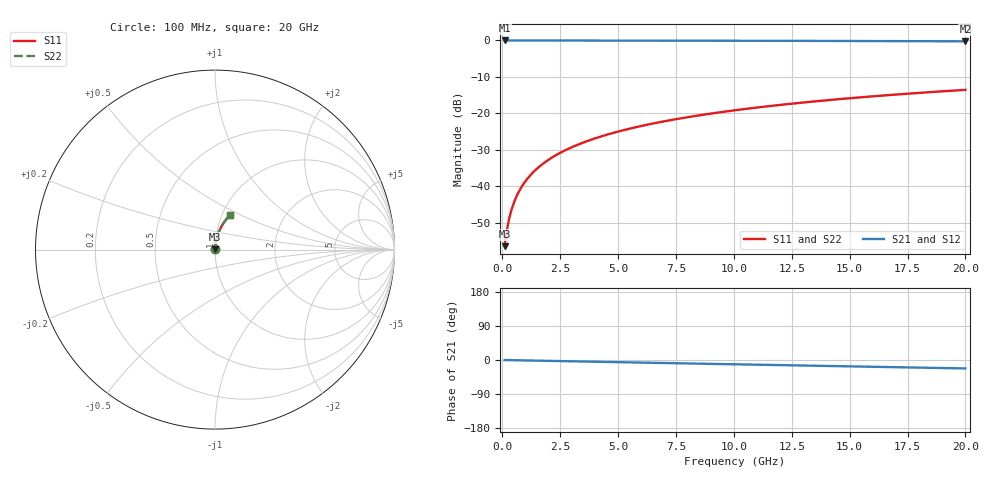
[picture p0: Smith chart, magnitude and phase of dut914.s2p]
! Touchstone file exported from HFSS 2026.1.0
!  File:  C:/ffzhzh/LocalFiles/Ansys_Project_Files/temp_train_BSMRDL_914_1783171614_51560.aedt
!  Generated:  09:28:04 PM Jul  4, 2026
!  Design:  BSMRDL
!  Project:  temp_train_BSMRDL_914_1783171614_51560
! Variables:
!  h_bsmrdl = 5.47um
!  h_ox = 20um
!  h_rdl = 5um
!  h_sub = 80um
!  h_tmrdl = 5um
!  h_tsv = 80um
!  h_via = 3um
!  l_bsmrdl = 292.78um
!  l_sub = 692.78um
!  l_tmrdl = 200um
!  m_sub = 200um
!  pitch = 58.79um
!  r_tsv = 6um
!  s_tmrdl = 10um
!  w_bsmrdl = 28.01um
!  w_sub = 500um
!  w_tmrdl = 12um
!  x_tsv_center1 = 206um
!  x_tsv_center2 = 526.79um
!  x_tsv_center3 = 738.79um
!  x_tsv_center4 = 1059.58um
!  x_tsv_center5 = 1271.58um
!  x_tsv_center6 = 1592.37um
# GHz S MA R 50.000000
! Terminal data exported
! Port[1] = BSM_RDL1_1_T1
! Port[2] = BSM_RDL1_1_T2
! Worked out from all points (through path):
!   200 points, 100 MHz to 20 GHz, reference 50 ohm
!   highest |S21| = -0.01 dB at 100 MHz (marker M1); lowest = -0.2 dB at 20 GHz (marker M2)
!   group delay of S21, straight-line fit = 3.09 ps
!   lowest |S11| = -56.4 dB at 100 MHz (marker M3), VSWR 1.00, Z = 50.1 + j0.125 ohm
!   |S11| at or under -10 dB: start of sweep to end of sweep
!   |S22| runs from -56.4 to -13.6 dB; largest |S21 - S12| = 9.4e-15
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0.1  0.001509 55.6  0.9991 -0.1  0.9991 -0.1  0.001509 55.6
! Gamma 0 0 0 0
! Port Impedance 50 0 50 0
0.2  0.002533 70.8  0.9991 -0.2  0.9991 -0.2  0.002533 70.8
0.3  0.003649 76.6  0.999 -0.4  0.999 -0.4  0.003649 76.6
0.4  0.004792 79.5  0.999 -0.5  0.999 -0.5  0.004792 79.5
0.5  0.005945 81.2  0.9989 -0.6  0.9989 -0.6  0.005945 81.2
0.7  0.00826 82.9  0.9989 -0.8  0.9989 -0.8  0.00826 82.9
0.8  0.009418 83.4  0.9988 -0.9  0.9988 -0.9  0.009418 83.4
1  0.01173 84.0  0.9988 -1.2  0.9988 -1.2  0.01173 84.0
1.2  0.01403 84.2  0.9987 -1.4  0.9987 -1.4  0.01403 84.2
1.4  0.01632 84.3  0.9986 -1.6  0.9986 -1.6  0.01632 84.3
1.7  0.01974 84.3  0.9985 -2.0  0.9985 -2.0  0.01974 84.3
2  0.02313 84.2  0.9983 -2.3  0.9983 -2.3  0.02313 84.2
2.7  0.03097 83.7  0.9978 -3.1  0.9978 -3.1  0.03097 83.7
3.5  0.03983 83.1  0.9972 -4.0  0.9972 -4.0  0.03983 83.1
4.2  0.04751 82.5  0.9966 -4.8  0.9966 -4.8  0.04751 82.5
5  0.05624 81.7  0.9959 -5.7  0.9959 -5.7  0.05624 81.7
6.8  0.07571 80.0  0.9942 -7.8  0.9942 -7.8  0.07571 80.0
8.3  0.09176 78.5  0.9925 -9.4  0.9925 -9.4  0.09176 78.5
10.1  0.1108 76.7  0.9902 -11.4  0.9902 -11.4  0.1108 76.7
13.4  0.145 73.2  0.9852 -15.1  0.9852 -15.1  0.145 73.2
16.7  0.1781 69.8  0.9794 -18.7  0.9794 -18.7  0.1781 69.8
20  0.2101 66.4  0.9727 -22.3  0.9727 -22.3  0.2101 66.4
